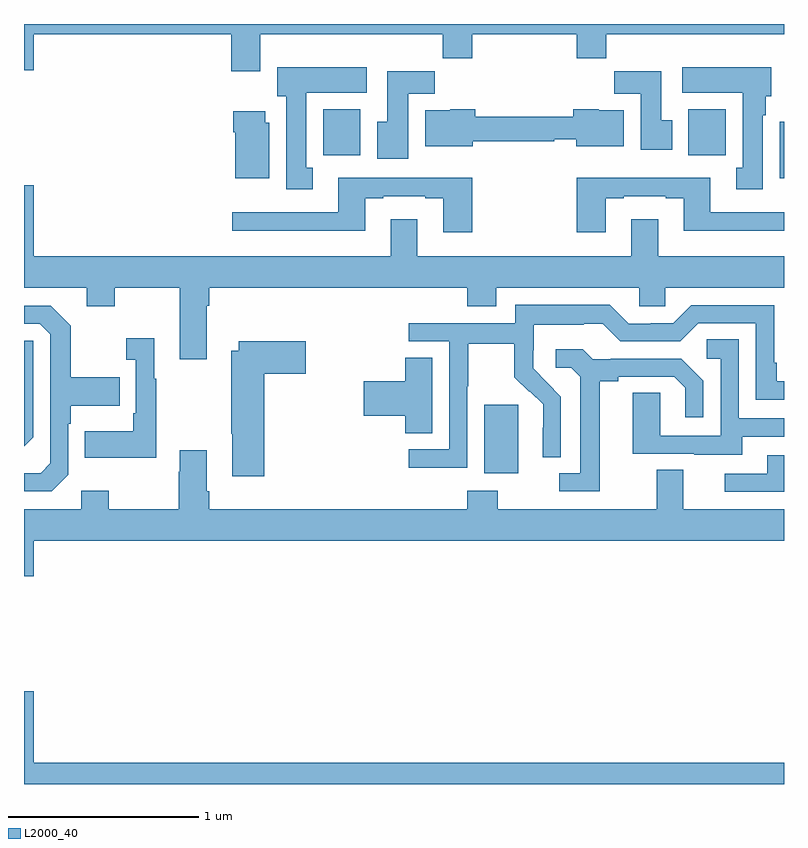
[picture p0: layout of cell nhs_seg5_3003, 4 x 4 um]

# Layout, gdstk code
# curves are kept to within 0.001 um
import gdstk
lib = gdstk.Library(unit=1e-6, precision=1e-09)
def R(c, l, rs):  # rectangles x0, y0, x1, y1
    for r in rs: c.add(gdstk.rectangle(r[:2], r[2:], *l))
def P(c, l, *ps):  # polygons
    for p in ps: c.add(gdstk.Polygon(p, *l))
L2000_40 = (2000, 40)

nhs_seg5_3003 = lib.new_cell('nhs_seg5_3003')
R(nhs_seg5_3003, L2000_40, [(287.423,870.434,287.602,870.795), (288.977,871.988,289,872.284), (286.574,872.108,286.771,872.35), (288.497,872.108,288.694,872.35)])
P(nhs_seg5_3003, L2000_40, [(286.243,872.744),(287.203,872.744),(287.203,872.62),(287.36,872.62),(287.36,872.744),(287.909,872.744),(287.909,872.62),(288.065,872.62),(288.065,872.744),(289,872.744),(289,872.799),(285,872.799),(285,872.556),(285.052,872.556),(285.052,872.744),(286.091,872.744),(286.091,872.55),(286.243,872.55)],
  [(288.889,872.318),(288.904,872.318),(288.904,872.418),(288.934,872.418),(288.934,872.572),(288.465,872.572),(288.465,872.438),(288.782,872.438),(288.782,872.042),(288.749,872.042),(288.749,871.929),(288.889,871.929)],
  [(286.519,872.042),(286.486,872.042),(286.486,872.438),(286.804,872.438),(286.804,872.572),(286.334,872.572),(286.334,872.418),(286.379,872.418),(286.379,871.929),(286.519,871.929)],
  [(288.412,872.292),(288.355,872.292),(288.355,872.551),(288.106,872.551),(288.106,872.432),(288.245,872.432),(288.245,872.136),(288.412,872.136)],
  [(287.023,872.432),(287.162,872.432),(287.162,872.551),(286.913,872.551),(286.913,872.284),(286.859,872.284),(286.859,872.091),(287.023,872.091)],
  [(287.362,872.182),(287.792,872.182),(287.792,872.193),(287.906,872.193),(287.906,872.156),(288.157,872.156),(288.157,872.344),(288.024,872.344),(288.024,872.35),(287.892,872.35),(287.892,872.311),(287.375,872.311),(287.375,872.35),(287.244,872.35),(287.244,872.344),(287.111,872.344),(287.111,872.156),(287.362,872.156)],
  [(286.291,872.28),(286.27,872.28),(286.27,872.341),(286.1,872.341),(286.1,872.228),(286.112,872.228),(286.112,871.988),(286.291,871.988)],
  [(287.36,871.99),(287.115,871.99),(287.115,871.989),(286.655,871.989),(286.655,871.809),(286.095,871.809),(286.095,871.712),(286.795,871.712),(286.795,871.881),(286.891,871.881),(286.891,871.893),(287.111,871.893),(287.111,871.881),(287.207,871.881),(287.207,871.704),(287.36,871.704)],
  [(288.061,871.881),(288.157,871.881),(288.157,871.893),(288.377,871.893),(288.377,871.881),(288.473,871.881),(288.473,871.712),(289,871.712),(289,871.809),(288.613,871.809),(288.613,871.99),(287.909,871.99),(287.909,871.704),(288.061,871.704)],
  [(285.961,871.316),(285.974,871.316),(285.974,871.412),(287.333,871.412),(287.333,871.313),(287.485,871.313),(287.485,871.412),(288.237,871.412),(288.237,871.314),(288.375,871.314),(288.375,871.412),(289,871.412),(289,871.576),(288.337,871.576),(288.337,871.771),(288.197,871.771),(288.197,871.576),(287.071,871.576),(287.071,871.771),(286.931,871.771),(286.931,871.576),(285.052,871.576),(285.052,871.951),(285,871.951),(285,871.412),(285.329,871.412),(285.329,871.313),(285.477,871.313),(285.477,871.412),(285.821,871.412),(285.821,871.035),(285.961,871.035)],
  [(287.334,870.892),(287.337,870.892),(287.337,871.116),(287.581,871.116),(287.581,870.941),(287.658,870.864),(287.661,870.867),(287.732,870.797),(287.732,870.674),(287.73,870.674),(287.73,870.52),(287.826,870.52),(287.826,870.838),(287.68,870.986),(287.68,871.083),(287.682,871.083),(287.682,871.217),(287.945,871.217),(287.945,871.221),(288.045,871.221),(288.138,871.128),(288.453,871.128),(288.549,871.224),(288.852,871.224),(288.852,870.822),(289,870.822),(289,870.918),(288.961,870.918),(288.961,871.015),(288.948,871.015),(288.948,871.32),(288.513,871.32),(288.417,871.224),(288.299,871.224),(288.299,871.221),(288.183,871.221),(288.083,871.321),(287.586,871.321),(287.586,871.224),(287.025,871.224),(287.025,871.128),(287.238,871.128),(287.238,870.561),(287.025,870.561),(287.025,870.463),(287.334,870.463)],
  [(285.234,870.426),(285.234,870.695),(285.247,870.695),(285.247,870.791),(285.503,870.791),(285.503,870.939),(285.247,870.939),(285.247,871.211),(285.141,871.317),(285,871.317),(285,871.221),(285.084,871.221),(285.138,871.167),(285.138,870.486),(285.087,870.435),(285,870.435),(285,870.339),(285.147,870.339)],
  [(285.697,870.931),(285.685,870.931),(285.685,871.144),(285.537,871.144),(285.537,871.031),(285.588,871.031),(285.588,870.751),(285.576,870.751),(285.576,870.655),(285.319,870.655),(285.319,870.515),(285.697,870.515)],
  [(288.781,870.627),(289,870.627),(289,870.723),(288.762,870.723),(288.762,871.139),(288.594,871.139),(288.594,871.038),(288.666,871.038),(288.666,870.633),(288.348,870.633),(288.348,870.857),(288.203,870.857),(288.203,870.537),(288.527,870.537),(288.527,870.533),(288.781,870.533)],
  [(285.048,870.624),(285.048,871.131),(285,871.131),(285,870.576)],
  [(286.265,870.959),(286.483,870.959),(286.483,871.129),(286.13,871.129),(286.13,871.078),(286.09,871.078),(286.09,870.643),(286.097,870.643),(286.097,870.42),(286.265,870.42)],
  [(288.031,870.92),(288.127,870.92),(288.127,870.942),(288.422,870.942),(288.479,870.885),(288.479,870.729),(288.576,870.729),(288.576,870.922),(288.46,871.038),(288.088,871.038),(288.088,871.035),(287.994,871.035),(287.942,871.087),(287.799,871.087),(287.799,870.99),(287.88,870.99),(287.927,870.943),(287.927,870.435),(287.817,870.435),(287.817,870.339),(288.031,870.339)],
  [(287.149,871.043),(287.006,871.043),(287.006,870.92),(286.788,870.92),(286.788,870.737),(287.006,870.737),(287.006,870.646),(287.149,870.646)],
  [(289,870.244),(288.469,870.244),(288.469,870.452),(288.329,870.452),(288.329,870.244),(287.493,870.244),(287.493,870.343),(287.333,870.343),(287.333,870.244),(285.974,870.244),(285.974,870.34),(285.961,870.34),(285.961,870.556),(285.821,870.556),(285.821,870.443),(285.814,870.443),(285.814,870.244),(285.447,870.244),(285.447,870.343),(285.3,870.343),(285.3,870.244),(285,870.244),(285,869.892),(285.052,869.892),(285.052,870.08),(289,870.08)],
  [(289,870.528),(288.911,870.528),(288.911,870.432),(288.687,870.432),(288.687,870.336),(289,870.336)],
  [(289,868.912),(285.052,868.912),(285.052,869.287),(285,869.287),(285,868.799),(289,868.799)])

lib.write_gds('nhs_seg5_3003.gds')
